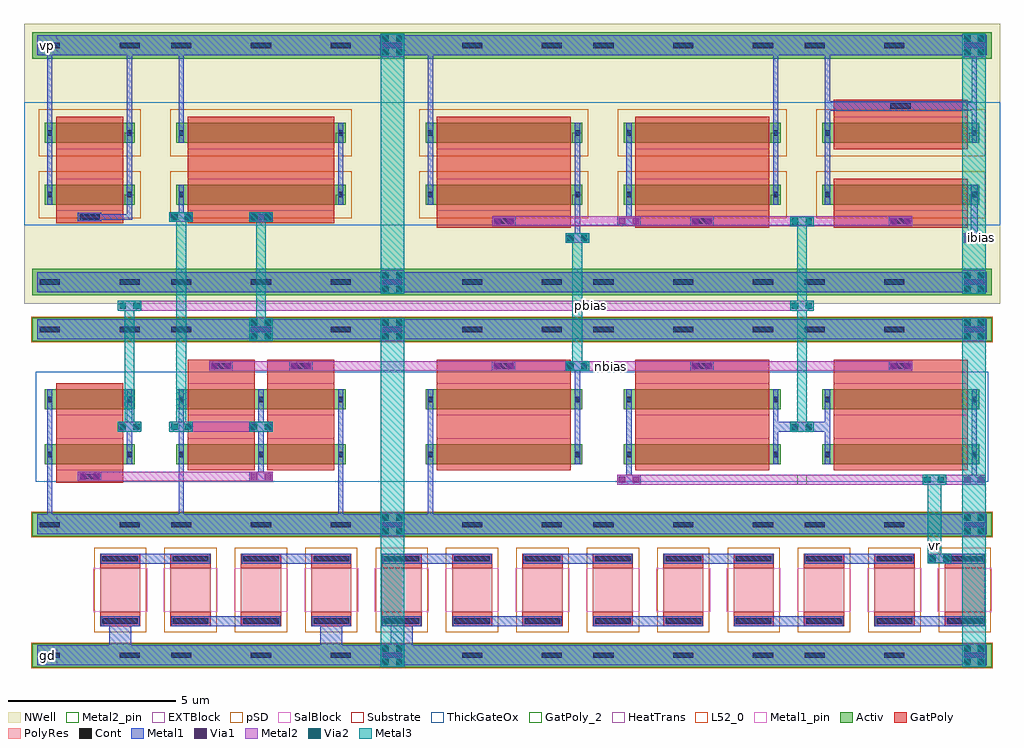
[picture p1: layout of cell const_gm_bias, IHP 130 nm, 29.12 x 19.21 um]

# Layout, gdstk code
import gdstk
lib = gdstk.Library(unit=1e-6, precision=1e-09)
def R(c, l, rs):  # rectangles x0, y0, x1, y1
    for r in rs: c.add(gdstk.rectangle(r[:2], r[2:], *l))
def A(c, l, x, y, w, h, nx, ny, dx, dy):  # array of equal rectangles
    R(c, l, [(x+i*dx, y+j*dy, x+i*dx+w, y+j*dy+h) for i in range(nx) for j in range(ny)])
Activ = (1, 0)
GatPoly = (5, 0)
GatPoly_2 = (5, 2)
Cont = (6, 0)
Metal1 = (8, 0)
Metal1_pin = (8, 2)
Metal2 = (10, 0)
Metal2_pin = (10, 2)
pSD = (14, 0)
Via1 = (19, 0)
SalBlock = (28, 0)
Via2 = (29, 0)
Metal3 = (30, 0)
NWell = (31, 0)
Substrate = (40, 0)
ThickGateOx = (44, 0)
HeatTrans = (51, 0)
L52_0 = (52, 0)
EXTBlock = (111, 0)
PolyRes = (128, 0)

nmoshv_10 = lib.new_cell('nmosHV$10')
R(nmoshv_10, Activ, [(0,0,0.3,0.3), (0,0,4.68,0.6), (4.38,0,4.68,0.3)])
R(nmoshv_10, GatPoly, [(0.34,-0.18,4.34,0.78)])
R(nmoshv_10, GatPoly_2, [(0.34,-0.18,4.34,0.78)])
R(nmoshv_10, Cont, [(0.07,0.22,0.23,0.38), (4.45,0.22,4.61,0.38)])
R(nmoshv_10, Metal1, [(0.07,0,0.23,0.6), (4.45,0,4.61,0.6)])
R(nmoshv_10, Metal1_pin, [(0.07,0,0.23,0.6), (4.45,0,4.61,0.6)])
R(nmoshv_10, ThickGateOx, [(-0.27,-0.52,4.95,1.12)])
R(nmoshv_10, HeatTrans, [(0.34,-0.18,4.34,0.78)])
nmoshv_10.add(gdstk.Label('nmosHV', (2.34,0.3), layer=63, texttype=0))
nmoshv_10.add(gdstk.Label('nmosHV', (2.34,0.3), layer=51, texttype=0))

via_stack_4 = lib.new_cell('via_stack$4')
R(via_stack_4, Metal1, [(-0.35,-0.35,0.35,0.35)])
R(via_stack_4, Metal2, [(-0.35,-0.35,0.35,0.35)])
R(via_stack_4, Via1, [(-0.3,-0.3,-0.11,-0.11), (0.11,-0.3,0.3,-0.11), (-0.3,0.11,-0.11,0.3), (0.11,0.11,0.3,0.3)])
R(via_stack_4, Via2, [(-0.3,-0.3,-0.11,-0.11), (0.11,-0.3,0.3,-0.11), (-0.3,0.11,-0.11,0.3), (0.11,0.11,0.3,0.3)])
R(via_stack_4, Metal3, [(-0.35,-0.35,0.35,0.35)])

via_stack = lib.new_cell('via_stack')
R(via_stack, Metal1, [(-0.35,-0.145,0.35,0.145)])
R(via_stack, Metal2, [(-0.35,-0.145,0.35,0.145)])
R(via_stack, Via1, [(-0.3,-0.095,-0.11,0.095), (0.11,-0.095,0.3,0.095)])

via_stack_3 = lib.new_cell('via_stack$3')
R(via_stack_3, Metal1, [(-0.35,-0.145,0.35,0.145)])
R(via_stack_3, Metal2, [(-0.35,-0.145,0.35,0.145)])
R(via_stack_3, Via1, [(-0.3,-0.095,-0.11,0.095), (0.11,-0.095,0.3,0.095)])
R(via_stack_3, Via2, [(-0.3,-0.095,-0.11,0.095), (0.11,-0.095,0.3,0.095)])
R(via_stack_3, Metal3, [(-0.35,-0.145,0.35,0.145)])

pmoshv_15 = lib.new_cell('pmosHV$15')
R(pmoshv_15, Activ, [(0,0,0.3,0.3), (0,0,4.68,0.6), (4.38,0,4.68,0.3)])
R(pmoshv_15, GatPoly, [(0.34,-0.18,4.34,0.78)])
R(pmoshv_15, GatPoly_2, [(0.34,-0.18,4.34,0.78)])
R(pmoshv_15, Cont, [(0.07,0.22,0.23,0.38), (4.45,0.22,4.61,0.38)])
R(pmoshv_15, Metal1, [(0.07,0,0.23,0.6), (4.45,0,4.61,0.6)])
R(pmoshv_15, Metal1_pin, [(0.07,0,0.23,0.6), (4.45,0,4.61,0.6)])
R(pmoshv_15, pSD, [(-0.18,-0.4,4.86,1)])
R(pmoshv_15, NWell, [(-0.62,-0.62,5.3,1.22)])
R(pmoshv_15, Substrate, [(4.38,0,4.68,0.3)])
R(pmoshv_15, ThickGateOx, [(-0.62,-0.62,5.3,1.22)])
R(pmoshv_15, HeatTrans, [(0.34,-0.18,4.34,0.78)])
pmoshv_15.add(gdstk.Label('pmosHV', (2.34,0.3), layer=63, texttype=0))
pmoshv_15.add(gdstk.Label('pmos', (2.34,0.3), layer=51, texttype=0))

via_stack_2 = lib.new_cell('via_stack$2')
R(via_stack_2, Metal2, [(-0.35,-0.145,0.35,0.145)])
R(via_stack_2, Via2, [(-0.3,-0.095,-0.11,0.095), (0.11,-0.095,0.3,0.095)])
R(via_stack_2, Metal3, [(-0.35,-0.145,0.35,0.145)])

pmoshv_8 = lib.new_cell('pmosHV$8')
R(pmoshv_8, Activ, [(0,0,0.3,0.3), (0,0,5.06,0.6), (4.76,0,5.06,0.3)])
R(pmoshv_8, GatPoly, [(0.34,-0.18,4.72,0.78)])
R(pmoshv_8, GatPoly_2, [(0.34,-0.18,4.72,0.78)])
R(pmoshv_8, Cont, [(0.07,0.22,0.23,0.38), (4.83,0.22,4.99,0.38)])
R(pmoshv_8, Metal1, [(0.07,0,0.23,0.6), (4.83,0,4.99,0.6)])
R(pmoshv_8, Metal1_pin, [(0.07,0,0.23,0.6), (4.83,0,4.99,0.6)])
R(pmoshv_8, pSD, [(-0.18,-0.4,5.24,1)])
R(pmoshv_8, NWell, [(-0.62,-0.62,5.68,1.22)])
R(pmoshv_8, Substrate, [(4.76,0,5.06,0.3)])
R(pmoshv_8, ThickGateOx, [(-0.62,-0.62,5.68,1.22)])
R(pmoshv_8, HeatTrans, [(0.34,-0.18,4.72,0.78)])
pmoshv_8.add(gdstk.Label('pmosHV', (2.53,0.3), layer=63, texttype=0))
pmoshv_8.add(gdstk.Label('pmos', (2.53,0.3), layer=51, texttype=0))

nmoshv_6 = lib.new_cell('nmosHV$6')
R(nmoshv_6, Activ, [(0,0,0.3,0.3), (0,0,2.68,0.6), (2.38,0,2.68,0.3)])
R(nmoshv_6, GatPoly, [(0.34,-0.18,2.34,0.78)])
R(nmoshv_6, GatPoly_2, [(0.34,-0.18,2.34,0.78)])
R(nmoshv_6, Cont, [(0.07,0.22,0.23,0.38), (2.45,0.22,2.61,0.38)])
R(nmoshv_6, Metal1, [(0.07,0,0.23,0.6), (2.45,0,2.61,0.6)])
R(nmoshv_6, Metal1_pin, [(0.07,0,0.23,0.6), (2.45,0,2.61,0.6)])
R(nmoshv_6, ThickGateOx, [(-0.27,-0.52,2.95,1.12)])
R(nmoshv_6, HeatTrans, [(0.34,-0.18,2.34,0.78)])
nmoshv_6.add(gdstk.Label('nmosHV', (1.34,0.3), layer=63, texttype=0))
nmoshv_6.add(gdstk.Label('nmosHV', (1.34,0.3), layer=51, texttype=0))

pmoshv_6 = lib.new_cell('pmosHV$6')
R(pmoshv_6, Activ, [(0,0,0.3,0.3), (0,0,2.68,0.6), (2.38,0,2.68,0.3)])
R(pmoshv_6, GatPoly, [(0.34,-0.18,2.34,0.78)])
R(pmoshv_6, GatPoly_2, [(0.34,-0.18,2.34,0.78)])
R(pmoshv_6, Cont, [(0.07,0.22,0.23,0.38), (2.45,0.22,2.61,0.38)])
R(pmoshv_6, Metal1, [(0.07,0,0.23,0.6), (2.45,0,2.61,0.6)])
R(pmoshv_6, Metal1_pin, [(0.07,0,0.23,0.6), (2.45,0,2.61,0.6)])
R(pmoshv_6, pSD, [(-0.18,-0.4,2.86,1)])
R(pmoshv_6, NWell, [(-0.62,-0.62,3.3,1.22)])
R(pmoshv_6, Substrate, [(2.38,0,2.68,0.3)])
R(pmoshv_6, ThickGateOx, [(-0.62,-0.62,3.3,1.22)])
R(pmoshv_6, HeatTrans, [(0.34,-0.18,2.34,0.78)])
pmoshv_6.add(gdstk.Label('pmosHV', (1.34,0.3), layer=63, texttype=0))
pmoshv_6.add(gdstk.Label('pmos', (1.34,0.3), layer=51, texttype=0))

const_gm_bias_core = lib.new_cell('const_gm_bias_core')
A(const_gm_bias_core, Cont, 4.39, 0.29, 0.6, 0.16, 3, 2, 2.38, 5.82)
A(const_gm_bias_core, Cont, 10.69, 0.29, 0.6, 0.16, 3, 2, 2.38, 5.82)
A(const_gm_bias_core, Cont, 16.99, 0.29, 0.6, 0.16, 3, 2, 2.38, 5.82)
A(const_gm_bias_core, Cont, 23.29, 0.29, 0.6, 0.16, 3, 2, 2.38, 5.82)
A(const_gm_bias_core, Cont, 14.01, 5.025, 0.6, 0.16, 3, 1, 5.92, 0)
A(const_gm_bias_core, Cont, 4.39, 7.53, 0.6, 0.16, 3, 2, 2.38, 7.06)
A(const_gm_bias_core, Cont, 10.69, 7.53, 0.6, 0.16, 3, 2, 2.38, 7.06)
A(const_gm_bias_core, Cont, 16.99, 7.53, 0.6, 0.16, 3, 2, 2.38, 7.06)
A(const_gm_bias_core, Cont, 23.29, 7.53, 0.6, 0.16, 3, 2, 2.38, 7.06)
R(const_gm_bias_core, Cont, [(0.47,0.29,1.07,0.45), (2.85,0.29,3.45,0.45), (1.66,1.73,2.26,1.89), (5.58,5.025,6.18,5.185), (7.96,5.025,8.56,5.185), (0.47,6.11,1.07,6.27), (2.85,6.11,3.45,6.27), (0.47,7.53,1.07,7.69), (2.85,7.53,3.45,7.69), (14.02,9.345,14.62,9.505), (19.93,9.345,20.53,9.505), (25.85,9.345,26.45,9.505), (1.66,9.475,2.26,9.635), (6.77,9.475,7.37,9.635), (25.85,12.78,26.45,12.94), (0.47,14.59,1.07,14.75), (2.85,14.59,3.45,14.75)])
R(const_gm_bias_core, Metal1, [(5.53,4.96,6.23,5.25), (7.91,4.96,8.61,5.25), (1.61,9.425,2.31,9.685)])
R(const_gm_bias_core, Metal1_pin, [(0.39,0.08,0.99,0.68), (0.39,14.37,0.99,14.97), (10.61,14.37,11.21,14.97)])
R(const_gm_bias_core, Metal2_pin, [(23.065,1.565,23.355,1.855), (17.055,4.96,17.345,5.25), (17.055,6.76,17.345,7.05), (28,8.78,28.29,9.07)])
R(const_gm_bias_core, NWell, [(0,6.97,29.12,9.55), (0,9.3,29.12,12.98), (0,12.98,29.12,15.31)])
R(const_gm_bias_core, ThickGateOx, [(0.35,1.65,28.77,4.93), (0,9.3,29.12,12.98)])
const_gm_bias_core.add(gdstk.FlexPath([(28.35,10.52),(28.35,8.78)], 0.2, ends="flush", simple_path=True, layer=8, datatype=0))  # Metal1
const_gm_bias_core.add(gdstk.FlexPath([(23.97,10.045),(23.97,14.97)], 0.16, ends="flush", simple_path=True, layer=8, datatype=0))  # Metal1
const_gm_bias_core.add(gdstk.FlexPath([(22.43,10.045),(22.43,14.97)], 0.16, ends="flush", simple_path=True, layer=8, datatype=0))  # Metal1
const_gm_bias_core.add(gdstk.FlexPath([(12.13,10.045),(12.13,14.97)], 0.16, ends="flush", simple_path=True, layer=8, datatype=0))  # Metal1
const_gm_bias_core.add(gdstk.FlexPath([(16.51,12.36),(16.51,8.78)], 0.16, ends="flush", simple_path=True, layer=8, datatype=0))  # Metal1
const_gm_bias_core.add(gdstk.FlexPath([(18.05,12.36),(18.05,9.28)], 0.16, ends="flush", simple_path=True, layer=8, datatype=0))  # Metal1
const_gm_bias_core.add(gdstk.FlexPath([(12.13,4.41),(12.13,0.08)], 0.16, ends="flush", simple_path=True, layer=8, datatype=0))  # Metal1
const_gm_bias_core.add(gdstk.FlexPath([(22.43,4.41),(22.43,2.17)], 0.16, ends="flush", simple_path=True, layer=8, datatype=0))  # Metal1
const_gm_bias_core.add(gdstk.FlexPath([(23.97,4.41),(23.97,2.17)], 0.16, ends="flush", simple_path=True, layer=8, datatype=0))  # Metal1
const_gm_bias_core.add(gdstk.FlexPath([(18.05,4.41),(18.05,1.565)], 0.16, ends="flush", simple_path=True, layer=8, datatype=0))  # Metal1
const_gm_bias_core.add(gdstk.FlexPath([(28.35,4.41),(28.35,1.565)], 0.16, ends="flush", simple_path=True, layer=8, datatype=0))  # Metal1
const_gm_bias_core.add(gdstk.FlexPath([(16.51,5.25),(16.51,2.17)], 0.16, ends="flush", simple_path=True, layer=8, datatype=0))  # Metal1
const_gm_bias_core.add(gdstk.FlexPath([(7.07,1.665),(7.07,4.41)], 0.16, ends="flush", simple_path=True, layer=8, datatype=0))  # Metal1
const_gm_bias_core.add(gdstk.FlexPath([(3.15,2.17),(3.15,4.41)], 0.16, ends="flush", simple_path=True, layer=8, datatype=0))  # Metal1
const_gm_bias_core.add(gdstk.FlexPath([(9.45,4.41),(9.45,0.08)], 0.16, ends="flush", simple_path=True, layer=8, datatype=0))  # Metal1
const_gm_bias_core.add(gdstk.FlexPath([(4.69,4.41),(4.69,0.08)], 0.16, ends="flush", simple_path=True, layer=8, datatype=0))  # Metal1
const_gm_bias_core.add(gdstk.FlexPath([(0.77,4.41),(0.77,0.08)], 0.16, ends="flush", simple_path=True, layer=8, datatype=0))  # Metal1
const_gm_bias_core.add(gdstk.FlexPath([(28.35,11.76),(28.35,14.97)], 0.16, ends="flush", simple_path=True, layer=8, datatype=0))  # Metal1
const_gm_bias_core.add(gdstk.FlexPath([(23.89,12.86),(28.43,12.86)], 0.29, ends="flush", simple_path=True, layer=8, datatype=0))  # Metal1
const_gm_bias_core.add(gdstk.FlexPath([(22.35,3.29),(24.05,3.29)], 0.29, ends="flush", simple_path=True, layer=8, datatype=0))  # Metal1
const_gm_bias_core.add(gdstk.FlexPath([(0.39,14.67),(28.73,14.67)], 0.6, ends="flush", simple_path=True, layer=8, datatype=0))  # Metal1
const_gm_bias_core.add(gdstk.FlexPath([(0.39,7.61),(28.73,7.61)], 0.6, ends="flush", simple_path=True, layer=8, datatype=0))  # Metal1
const_gm_bias_core.add(gdstk.FlexPath([(0.39,6.2),(28.73,6.2)], 0.6, ends="flush", simple_path=True, layer=8, datatype=0))  # Metal1
const_gm_bias_core.add(gdstk.FlexPath([(9.45,9.92),(9.45,12.36)], 0.16, ends="flush", simple_path=True, layer=8, datatype=0))  # Metal1
const_gm_bias_core.add(gdstk.FlexPath([(4.69,10.52),(4.69,9.41)], 0.16, ends="flush", simple_path=True, layer=8, datatype=0))  # Metal1
const_gm_bias_core.add(gdstk.FlexPath([(4.69,11.76),(4.69,14.97)], 0.16, ends="flush", simple_path=True, layer=8, datatype=0))  # Metal1
const_gm_bias_core.add(gdstk.FlexPath([(3.15,9.92),(3.15,14.97)], 0.16, ends="flush", simple_path=True, layer=8, datatype=0))  # Metal1
const_gm_bias_core.add(gdstk.FlexPath([(0.77,9.92),(0.77,14.97)], 0.16, ends="flush", simple_path=True, layer=8, datatype=0))  # Metal1
const_gm_bias_core.add(gdstk.FlexPath([(1.66,9.555),(3.15,9.555),(3.15,9.92)], 0.16, ends="flush", simple_path=True, layer=8, datatype=0))  # Metal1
const_gm_bias_core.add(gdstk.FlexPath([(0.39,0.38),(28.73,0.38)], 0.6, ends="flush", simple_path=True, layer=8, datatype=0))  # Metal1
const_gm_bias_core.add(gdstk.FlexPath([(0.24,14.67),(28.88,14.67)], 0.8, ends="flush", simple_path=True, layer=1, datatype=0))  # Activ
const_gm_bias_core.add(gdstk.FlexPath([(0.24,7.61),(28.88,7.61)], 0.8, ends="flush", simple_path=True, layer=1, datatype=0))  # Activ
const_gm_bias_core.add(gdstk.FlexPath([(0.24,6.2),(28.88,6.2)], 0.7, ends="flush", simple_path=True, layer=1, datatype=0))  # Activ
const_gm_bias_core.add(gdstk.FlexPath([(0.24,0.38),(28.88,0.38)], 0.7, ends="flush", simple_path=True, layer=1, datatype=0))  # Activ
const_gm_bias_core.add(gdstk.FlexPath([(26.16,10.7),(26.16,9.235)], 4, ends="flush", simple_path=True, layer=5, datatype=0))  # GatPoly
const_gm_bias_core.add(gdstk.FlexPath([(20.24,12.54),(20.24,9.235)], 4, ends="flush", simple_path=True, layer=5, datatype=0))  # GatPoly
const_gm_bias_core.add(gdstk.FlexPath([(14.32,12.54),(14.32,9.235)], 4, ends="flush", simple_path=True, layer=5, datatype=0))  # GatPoly
const_gm_bias_core.add(gdstk.FlexPath([(26.16,1.99),(26.16,5.295)], 4, ends="flush", simple_path=True, layer=5, datatype=0))  # GatPoly
const_gm_bias_core.add(gdstk.FlexPath([(20.24,1.99),(20.24,5.295)], 4, ends="flush", simple_path=True, layer=5, datatype=0))  # GatPoly
const_gm_bias_core.add(gdstk.FlexPath([(14.32,1.99),(14.32,5.295)], 4, ends="flush", simple_path=True, layer=5, datatype=0))  # GatPoly
const_gm_bias_core.add(gdstk.FlexPath([(8.26,1.99),(8.26,5.295)], 2, ends="flush", simple_path=True, layer=5, datatype=0))  # GatPoly
const_gm_bias_core.add(gdstk.FlexPath([(5.88,1.99),(5.88,5.295)], 2, ends="flush", simple_path=True, layer=5, datatype=0))  # GatPoly
const_gm_bias_core.add(gdstk.FlexPath([(1.96,4.59),(1.96,1.62)], 2, ends="flush", simple_path=True, layer=5, datatype=0))  # GatPoly
const_gm_bias_core.add(gdstk.FlexPath([(26.16,11.58),(26.16,13.045)], 4, ends="flush", simple_path=True, layer=5, datatype=0))  # GatPoly
const_gm_bias_core.add(gdstk.FlexPath([(1.96,12.54),(1.96,9.37)], 2, ends="flush", simple_path=True, layer=5, datatype=0))  # GatPoly
const_gm_bias_core.add(gdstk.FlexPath([(7.07,12.54),(7.07,9.37)], 4.38, ends="flush", simple_path=True, layer=5, datatype=0))  # GatPoly
const_gm_bias_core.add(gdstk.FlexPath([(0.21,6.2),(28.91,6.2)], 0.76, ends="flush", simple_path=True, layer=14, datatype=0))  # pSD
const_gm_bias_core.add(gdstk.FlexPath([(0.21,0.38),(28.91,0.38)], 0.76, ends="flush", simple_path=True, layer=14, datatype=0))  # pSD
const_gm_bias_core.add(gdstk.FlexPath([(13.97,9.425),(26.5,9.425)], 0.29, ends="flush", simple_path=True, layer=10, datatype=0))  # Metal2
const_gm_bias_core.add(gdstk.FlexPath([(5.53,5.105),(26.5,5.105)], 0.29, ends="flush", simple_path=True, layer=10, datatype=0))  # Metal2
const_gm_bias_core.add(gdstk.FlexPath([(28.7,1.71),(17.7,1.71)], 0.29, ends="flush", simple_path=True, layer=10, datatype=0))  # Metal2
const_gm_bias_core.add(gdstk.FlexPath([(23.56,6.905),(2.8,6.905)], 0.29, ends="flush", simple_path=True, layer=10, datatype=0))  # Metal2
const_gm_bias_core.add(gdstk.FlexPath([(1.61,1.81),(7.42,1.81)], 0.29, ends="flush", simple_path=True, layer=10, datatype=0))  # Metal2
const_gm_bias_core.add(gdstk.FlexPath([(5.53,5.105),(8.61,5.105)], 0.29, ends="flush", simple_path=True, layer=10, datatype=0))  # Metal2
const_gm_bias_core.add(gdstk.FlexPath([(7.42,3.295),(4.34,3.295)], 0.29, ends="flush", simple_path=True, layer=10, datatype=0))  # Metal2
const_gm_bias_core.add(gdstk.FlexPath([(16.51,4.96),(16.51,9.07)], 0.29, ends="flush", simple_path=True, layer=30, datatype=0))  # Metal3
const_gm_bias_core.add(gdstk.FlexPath([(23.21,3.145),(23.21,9.565)], 0.29, ends="flush", simple_path=True, layer=30, datatype=0))  # Metal3
const_gm_bias_core.add(gdstk.FlexPath([(10.99,7.26),(10.99,15.02)], 0.7, ends="flush", simple_path=True, layer=30, datatype=0))  # Metal3
const_gm_bias_core.add(gdstk.FlexPath([(28.35,7.26),(28.35,15.02)], 0.7, ends="flush", simple_path=True, layer=30, datatype=0))  # Metal3
const_gm_bias_core.add(gdstk.FlexPath([(10.99,0.03),(10.99,6.55)], 0.7, ends="flush", simple_path=True, layer=30, datatype=0))  # Metal3
const_gm_bias_core.add(gdstk.FlexPath([(28.35,0.03),(28.35,6.55)], 0.7, ends="flush", simple_path=True, layer=30, datatype=0))  # Metal3
const_gm_bias_core.add(gdstk.FlexPath([(7.07,6.055),(7.07,9.7)], 0.29, ends="flush", simple_path=True, layer=30, datatype=0))  # Metal3
const_gm_bias_core.add(gdstk.FlexPath([(4.69,3.145),(4.69,9.7)], 0.29, ends="flush", simple_path=True, layer=30, datatype=0))  # Metal3
const_gm_bias_core.add(gdstk.FlexPath([(3.15,3.145),(3.15,7.05)], 0.29, ends="flush", simple_path=True, layer=30, datatype=0))  # Metal3
const_gm_bias_core.add(gdstk.Reference(nmoshv_10, (23.82,3.81)))
const_gm_bias_core.add(gdstk.Reference(nmoshv_10, (23.82,2.17)))
const_gm_bias_core.add(gdstk.Reference(nmoshv_10, (17.9,3.81)))
const_gm_bias_core.add(gdstk.Reference(nmoshv_10, (17.9,2.17)))
const_gm_bias_core.add(gdstk.Reference(nmoshv_10, (11.98,3.81)))
const_gm_bias_core.add(gdstk.Reference(via_stack_4, (10.99,6.2)))
const_gm_bias_core.add(gdstk.Reference(via_stack_4, (10.99,0.38)))
const_gm_bias_core.add(gdstk.Reference(via_stack, (26.15,9.425), x_reflection=True))
const_gm_bias_core.add(gdstk.Reference(via_stack_4, (28.35,6.2)))
const_gm_bias_core.add(gdstk.Reference(via_stack, (26.15,5.105)))
const_gm_bias_core.add(gdstk.Reference(via_stack, (20.23,5.105)))
const_gm_bias_core.add(gdstk.Reference(via_stack, (14.31,5.105)))
const_gm_bias_core.add(gdstk.Reference(via_stack_4, (28.35,0.38)))
const_gm_bias_core.add(gdstk.Reference(via_stack_4, (10.99,7.61)))
const_gm_bias_core.add(gdstk.Reference(nmoshv_10, (11.98,2.17)))
const_gm_bias_core.add(gdstk.Reference(via_stack, (28.35,1.71)))
const_gm_bias_core.add(gdstk.Reference(via_stack_4, (28.35,7.61)))
const_gm_bias_core.add(gdstk.Reference(via_stack_3, (23.21,3.29)))
const_gm_bias_core.add(gdstk.Reference(via_stack_4, (10.99,14.67)))
const_gm_bias_core.add(gdstk.Reference(via_stack_3, (16.51,8.925)))
const_gm_bias_core.add(gdstk.Reference(via_stack_4, (28.35,14.67)))
const_gm_bias_core.add(gdstk.Reference(pmoshv_15, (11.98,9.92)))
const_gm_bias_core.add(gdstk.Reference(pmoshv_15, (11.98,11.76)))
const_gm_bias_core.add(gdstk.Reference(pmoshv_15, (17.9,9.92)))
const_gm_bias_core.add(gdstk.Reference(pmoshv_15, (17.9,11.76)))
const_gm_bias_core.add(gdstk.Reference(pmoshv_15, (23.82,9.92)))
const_gm_bias_core.add(gdstk.Reference(via_stack_3, (16.51,5.105)))
const_gm_bias_core.add(gdstk.Reference(via_stack_2, (23.21,9.42)))
const_gm_bias_core.add(gdstk.Reference(via_stack, (14.32,9.425), x_reflection=True))
const_gm_bias_core.add(gdstk.Reference(via_stack, (18.05,1.71)))
const_gm_bias_core.add(gdstk.Reference(pmoshv_15, (23.82,11.76)))
const_gm_bias_core.add(gdstk.Reference(via_stack, (20.23,9.425), x_reflection=True))
const_gm_bias_core.add(gdstk.Reference(via_stack, (28.35,8.925)))
const_gm_bias_core.add(gdstk.Reference(via_stack, (18.05,9.425), x_reflection=True))
const_gm_bias_core.add(gdstk.Reference(pmoshv_8, (4.54,9.92)))
const_gm_bias_core.add(gdstk.Reference(nmoshv_6, (4.54,3.81)))
const_gm_bias_core.add(gdstk.Reference(nmoshv_6, (4.54,2.17)))
const_gm_bias_core.add(gdstk.Reference(nmoshv_6, (6.92,2.17)))
const_gm_bias_core.add(gdstk.Reference(nmoshv_6, (6.92,3.81)))
const_gm_bias_core.add(gdstk.Reference(nmoshv_6, (0.62,3.81)))
const_gm_bias_core.add(gdstk.Reference(nmoshv_6, (0.62,2.17)))
const_gm_bias_core.add(gdstk.Reference(pmoshv_6, (0.62,9.92)))
const_gm_bias_core.add(gdstk.Reference(pmoshv_6, (0.62,11.76)))
const_gm_bias_core.add(gdstk.Reference(via_stack, (8.26,5.105)))
const_gm_bias_core.add(gdstk.Reference(via_stack, (5.88,5.105)))
const_gm_bias_core.add(gdstk.Reference(via_stack, (1.96,1.81), x_reflection=True))
const_gm_bias_core.add(gdstk.Reference(via_stack, (7.07,1.81), x_reflection=True))
const_gm_bias_core.add(gdstk.Reference(pmoshv_8, (4.54,11.76)))
const_gm_bias_core.add(gdstk.Reference(via_stack_3, (7.07,9.555)))
const_gm_bias_core.add(gdstk.Reference(via_stack_3, (4.69,9.555)))
const_gm_bias_core.add(gdstk.Reference(via_stack_2, (4.69,3.295)))
const_gm_bias_core.add(gdstk.Reference(via_stack_3, (7.07,3.295)))
const_gm_bias_core.add(gdstk.Reference(via_stack_3, (3.15,3.295)))
const_gm_bias_core.add(gdstk.Reference(via_stack_2, (3.15,6.905)))
const_gm_bias_core.add(gdstk.Reference(via_stack_2, (23.21,6.905)))
const_gm_bias_core.add(gdstk.Reference(via_stack_4, (7.07,6.2)))
const_gm_bias_core.add(gdstk.Label('ibias', (28.145,8.925), layer=10, texttype=25))
const_gm_bias_core.add(gdstk.Label('stup', (3.13,1.81), layer=10, texttype=25))
const_gm_bias_core.add(gdstk.Label('nbias', (17.2,5.105), layer=10, texttype=25))
const_gm_bias_core.add(gdstk.Label('pbias', (17.2,6.905), layer=10, texttype=25))
const_gm_bias_core.add(gdstk.Label('res', (23.21,1.71), layer=10, texttype=25))
const_gm_bias_core.add(gdstk.Label('vp', (0.69,14.67), layer=8, texttype=25))
const_gm_bias_core.add(gdstk.Label('gd', (0.69,0.38), layer=8, texttype=25))
const_gm_bias_core.add(gdstk.Label('vp', (10.91,14.67), layer=8, texttype=25))

rppd = lib.new_cell('rppd')
A(rppd, GatPoly, 0, -0.43, 1.2, 0.23, 9, 2, 2.1, 1.93)
A(rppd, GatPoly, 0, -0.2, 1.2, 0.2, 9, 2, 2.1, 1.5)
A(rppd, Cont, 0.07, -0.36, 1.06, 0.16, 9, 2, 2.1, 1.86)
A(rppd, Metal1, 0.02, -0.43, 1.16, 0.3, 9, 2, 2.1, 1.86)
A(rppd, Metal1, 2.12, -0.43, 3.26, 0.3, 4, 1, 4.2, 0)
A(rppd, Metal1, 0.02, 1.43, 3.26, 0.3, 4, 1, 4.2, 0)
A(rppd, Metal1_pin, 0.02, -0.43, 1.16, 0.3, 9, 2, 2.1, 1.86)
A(rppd, pSD, -0.18, -0.61, 1.56, 0.61, 9, 2, 2.1, 1.91)
A(rppd, pSD, -0.18, 0, 1.56, 1.3, 9, 1, 2.1, 0)
A(rppd, SalBlock, -0.2, 0, 1.6, 1.3, 9, 1, 2.1, 0)
A(rppd, L52_0, 0, 0, 1.2, 1.3, 9, 1, 2.1, 0)
A(rppd, EXTBlock, -0.18, -0.61, 1.56, 0.61, 9, 2, 2.1, 1.91)
A(rppd, EXTBlock, -0.2, 0, 1.6, 1.3, 9, 1, 2.1, 0)
A(rppd, PolyRes, 0, 0, 1.2, 1.3, 9, 1, 2.1, 0)
rppd.add(gdstk.Label('rppd r=338.599', (0.6,0.65), layer=63, texttype=0))
rppd.add(gdstk.Label('rppd r=338.599', (0.6,0.65), layer=63, texttype=0))
rppd.add(gdstk.Label('rppd r=338.599', (0.6,0.65), layer=63, texttype=0))
rppd.add(gdstk.Label('rppd r=338.599', (0.6,0.65), layer=63, texttype=0))
rppd.add(gdstk.Label('rppd r=338.599', (0.6,0.65), layer=63, texttype=0))
rppd.add(gdstk.Label('rppd r=338.599', (0.6,0.65), layer=63, texttype=0))
rppd.add(gdstk.Label('rppd r=338.599', (0.6,0.65), layer=63, texttype=0))
rppd.add(gdstk.Label('rppd r=338.599', (0.6,0.65), layer=63, texttype=0))
rppd.add(gdstk.Label('rppd r=338.599', (0.6,0.65), layer=63, texttype=0))
rppd.add(gdstk.Label('rppd', (0.6,0.65), layer=52, texttype=0))
rppd.add(gdstk.Label('rppd', (2.7,0.65), layer=52, texttype=0))
rppd.add(gdstk.Label('rppd', (4.8,0.65), layer=52, texttype=0))
rppd.add(gdstk.Label('rppd', (6.9,0.65), layer=52, texttype=0))
rppd.add(gdstk.Label('rppd', (9,0.65), layer=52, texttype=0))
rppd.add(gdstk.Label('rppd', (11.1,0.65), layer=52, texttype=0))
rppd.add(gdstk.Label('rppd', (13.2,0.65), layer=52, texttype=0))
rppd.add(gdstk.Label('rppd', (15.3,0.65), layer=52, texttype=0))
rppd.add(gdstk.Label('rppd', (17.4,0.65), layer=52, texttype=0))

rppd_9 = lib.new_cell('rppd$9')
A(rppd_9, GatPoly, 0, -0.43, 1.2, 0.23, 4, 2, 2.1, 1.93)
A(rppd_9, GatPoly, 0, -0.2, 1.2, 0.2, 4, 2, 2.1, 1.5)
A(rppd_9, Cont, 0.07, -0.36, 1.06, 0.16, 4, 2, 2.1, 1.86)
A(rppd_9, Metal1, 0.02, -0.43, 1.16, 0.3, 4, 2, 2.1, 1.86)
R(rppd_9, Metal1, [(2.12,-0.43,5.38,-0.13), (0.02,1.43,3.28,1.73), (4.22,1.43,7.48,1.73)])
A(rppd_9, Metal1_pin, 0.02, -0.43, 1.16, 0.3, 4, 2, 2.1, 1.86)
A(rppd_9, pSD, -0.18, -0.61, 1.56, 0.61, 4, 2, 2.1, 1.91)
A(rppd_9, pSD, -0.18, 0, 1.56, 1.3, 4, 1, 2.1, 0)
A(rppd_9, SalBlock, -0.2, 0, 1.6, 1.3, 4, 1, 2.1, 0)
A(rppd_9, L52_0, 0, 0, 1.2, 1.3, 4, 1, 2.1, 0)
A(rppd_9, EXTBlock, -0.18, -0.61, 1.56, 0.61, 4, 2, 2.1, 1.91)
A(rppd_9, EXTBlock, -0.2, 0, 1.6, 1.3, 4, 1, 2.1, 0)
A(rppd_9, PolyRes, 0, 0, 1.2, 1.3, 4, 1, 2.1, 0)
rppd_9.add(gdstk.Label('rppd r=338.599', (0.6,0.65), layer=63, texttype=0))
rppd_9.add(gdstk.Label('rppd r=338.599', (0.6,0.65), layer=63, texttype=0))
rppd_9.add(gdstk.Label('rppd r=338.599', (0.6,0.65), layer=63, texttype=0))
rppd_9.add(gdstk.Label('rppd r=338.599', (0.6,0.65), layer=63, texttype=0))
rppd_9.add(gdstk.Label('rppd', (0.6,0.65), layer=52, texttype=0))
rppd_9.add(gdstk.Label('rppd', (2.7,0.65), layer=52, texttype=0))
rppd_9.add(gdstk.Label('rppd', (4.8,0.65), layer=52, texttype=0))
rppd_9.add(gdstk.Label('rppd', (6.9,0.65), layer=52, texttype=0))

const_gm_bias = lib.new_cell('const_gm_bias')
R(const_gm_bias, Activ, [(0.24,0.03,28.88,0.73)])
A(const_gm_bias, Cont, 4.39, 0.3, 0.6, 0.16, 3, 1, 2.38, 0)
A(const_gm_bias, Cont, 10.69, 0.3, 0.6, 0.16, 3, 1, 2.38, 0)
A(const_gm_bias, Cont, 16.99, 0.3, 0.6, 0.16, 3, 1, 2.38, 0)
A(const_gm_bias, Cont, 23.29, 0.3, 0.6, 0.16, 3, 1, 2.38, 0)
R(const_gm_bias, Cont, [(0.47,0.3,1.07,0.46), (2.85,0.3,3.45,0.46)])
R(const_gm_bias, Metal1, [(0.39,0.08,28.73,0.68)])
R(const_gm_bias, Metal1_pin, [(0.39,0.08,0.99,0.68), (0.39,18.275,0.99,18.875)])
R(const_gm_bias, Metal2_pin, [(17.345,8.865,17.635,9.155), (16.765,10.665,17.055,10.955), (28.41,12.685,28.7,12.975)])
R(const_gm_bias, pSD, [(0.21,0,28.91,0.76)])
const_gm_bias.add(gdstk.FlexPath([(9.17,1.55),(9.17,0.08)], 0.66, ends="flush", simple_path=True, layer=8, datatype=0))  # Metal1
const_gm_bias.add(gdstk.FlexPath([(2.87,1.55),(2.87,0.08)], 0.66, ends="flush", simple_path=True, layer=8, datatype=0))  # Metal1
const_gm_bias.add(gdstk.FlexPath([(11.27,1.55),(11.27,0.08)], 0.66, ends="flush", simple_path=True, layer=8, datatype=0))  # Metal1
const_gm_bias.add(gdstk.FlexPath([(27.16,5.76),(27.16,3.12)], 0.4, ends="flush", simple_path=True, layer=30, datatype=0))  # Metal3
const_gm_bias.add(gdstk.FlexPath([(28.35,4.63),(28.35,0.03)], 0.7, ends="flush", simple_path=True, layer=30, datatype=0))  # Metal3
const_gm_bias.add(gdstk.FlexPath([(10.99,0.035),(10.99,4.635)], 0.7, ends="flush", simple_path=True, layer=30, datatype=0))  # Metal3
const_gm_bias.add(gdstk.Reference(const_gm_bias_core, (0,3.905)))
const_gm_bias.add(gdstk.Reference(via_stack_4, (10.99,0.38)))
const_gm_bias.add(gdstk.Reference(via_stack_4, (28.35,0.38)))
const_gm_bias.add(gdstk.Reference(via_stack_2, (27.16,5.615)))
const_gm_bias.add(gdstk.Reference(via_stack_3, (27.31,3.265)))
const_gm_bias.add(gdstk.Reference(rppd, (10.67,1.68)))
const_gm_bias.add(gdstk.Reference(rppd_9, (2.27,1.68)))
const_gm_bias.add(gdstk.Label('ibias', (28.555,12.83), layer=10, texttype=25))
const_gm_bias.add(gdstk.Label('nbias', (17.49,9.01), layer=10, texttype=25))
const_gm_bias.add(gdstk.Label('pbias', (16.91,10.81), layer=10, texttype=25))
const_gm_bias.add(gdstk.Label('vp', (0.69,18.575), layer=8, texttype=25))
const_gm_bias.add(gdstk.Label('gd', (0.69,0.38), layer=8, texttype=25))
const_gm_bias.add(gdstk.Label('vr', (27.16,3.67), layer=30, texttype=25))

lib.write_gds('const_gm_bias.gds')
